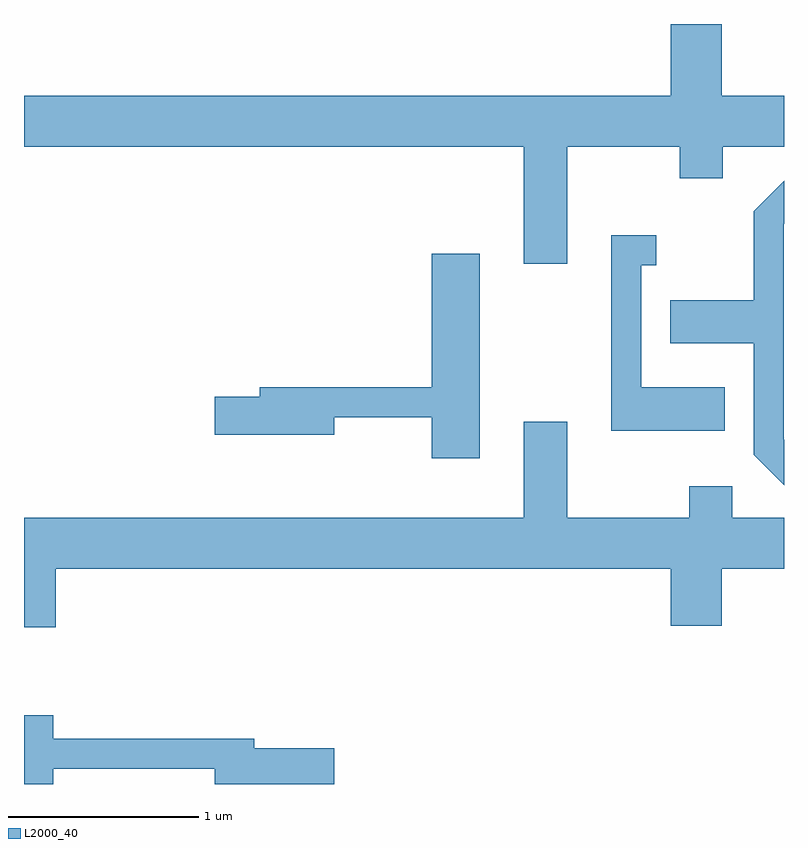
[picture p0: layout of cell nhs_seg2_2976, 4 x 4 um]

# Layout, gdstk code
import gdstk
lib = gdstk.Library(unit=1e-6, precision=1e-09)
def P(c, l, *ps):  # polygons
    for p in ps: c.add(gdstk.Polygon(p, *l))
L2000_40 = (2000, 40)

nhs_seg2_2976 = lib.new_cell('nhs_seg2_2976')
P(nhs_seg2_2976, L2000_40, [(274.469,1097.156),(275.061,1097.156),(275.061,1096.991),(275.289,1096.991),(275.289,1097.156),(275.611,1097.156),(275.611,1097.424),(275.284,1097.424),(275.284,1097.802),(275.016,1097.802),(275.016,1097.424),(271.611,1097.424),(271.611,1097.156),(274.241,1097.156),(274.241,1096.541),(274.469,1096.541)],
  [(275.611,1095.615),(275.609,1095.617),(275.609,1096.749),(275.611,1096.751),(275.611,1096.976),(275.451,1096.817),(275.451,1096.349),(275.011,1096.349),(275.011,1096.121),(275.451,1096.121),(275.451,1095.534),(275.611,1095.374)],
  [(275.299,1095.889),(274.859,1095.889),(274.859,1096.531),(274.938,1096.531),(274.938,1096.689),(274.701,1096.689),(274.701,1095.661),(275.299,1095.661)],
  [(274.009,1096.594),(273.756,1096.594),(273.756,1095.889),(272.851,1095.889),(272.851,1095.839),(272.616,1095.839),(272.616,1095.641),(273.244,1095.641),(273.244,1095.731),(273.756,1095.731),(273.756,1095.516),(274.009,1095.516)],
  [(271.779,1094.936),(275.016,1094.936),(275.016,1094.636),(275.284,1094.636),(275.284,1094.936),(275.611,1094.936),(275.611,1095.204),(275.339,1095.204),(275.339,1095.369),(275.111,1095.369),(275.111,1095.204),(274.469,1095.204),(274.469,1095.709),(274.241,1095.709),(274.241,1095.204),(271.611,1095.204),(271.611,1094.626),(271.779,1094.626)],
  [(271.764,1093.881),(272.616,1093.881),(272.616,1093.802),(273.244,1093.802),(273.244,1093.989),(272.824,1093.989),(272.824,1094.039),(271.764,1094.039),(271.764,1094.164),(271.611,1094.164),(271.611,1093.802),(271.764,1093.802)])

lib.write_gds('nhs_seg2_2976.gds')
